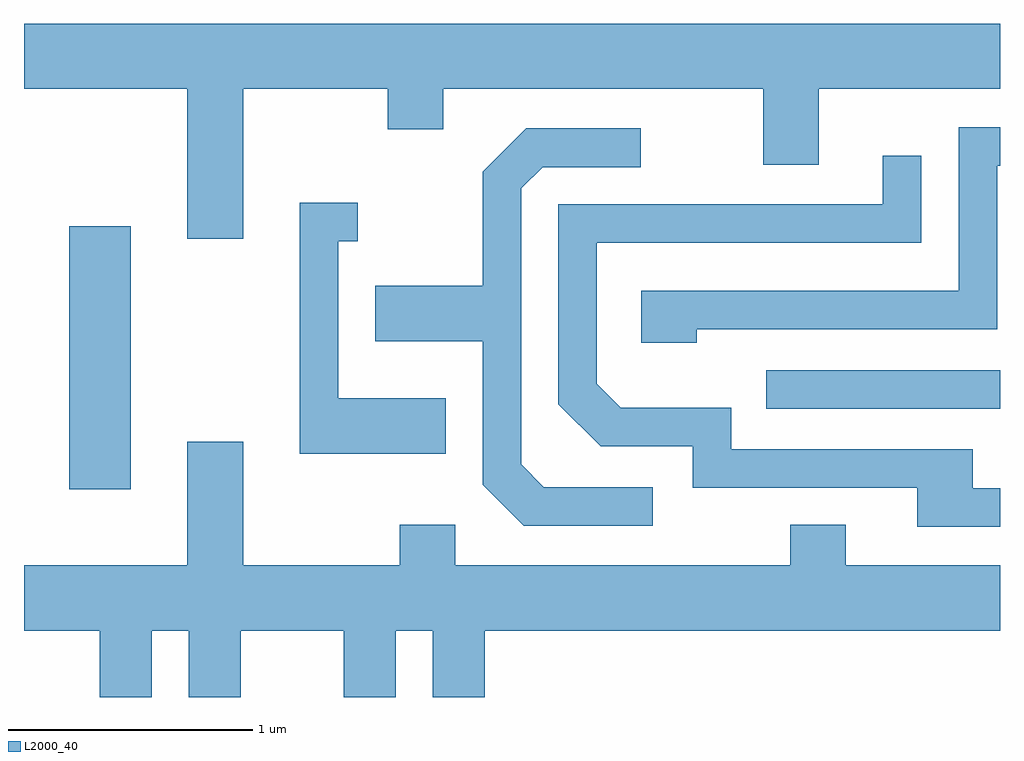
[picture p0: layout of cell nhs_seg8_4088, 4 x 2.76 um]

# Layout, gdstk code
import gdstk
lib = gdstk.Library(unit=1e-6, precision=1e-09)
def R(c, l, rs):  # rectangles x0, y0, x1, y1
    for r in rs: c.add(gdstk.rectangle(r[:2], r[2:], *l))
def P(c, l, *ps):  # polygons
    for p in ps: c.add(gdstk.Polygon(p, *l))
L2000_40 = (2000, 40)

nhs_seg8_4088 = lib.new_cell('nhs_seg8_4088')
R(nhs_seg8_4088, L2000_40, [(307.796,1859.196,308.049,1860.274), (310.653,1859.526,311.611,1859.684)])
P(nhs_seg8_4088, L2000_40, [(308.509,1860.836),(309.101,1860.836),(309.101,1860.671),(309.329,1860.671),(309.329,1860.836),(310.641,1860.836),(310.641,1860.526),(310.869,1860.526),(310.869,1860.836),(311.611,1860.836),(311.611,1861.104),(307.611,1861.104),(307.611,1860.836),(308.281,1860.836),(308.281,1860.221),(308.509,1860.221)],
  [(310.369,1859.851),(311.599,1859.851),(311.599,1860.521),(311.611,1860.521),(311.611,1860.679),(311.441,1860.679),(311.441,1860.009),(310.141,1860.009),(310.141,1859.796),(310.369,1859.796)],
  [(310.188,1859.204),(309.742,1859.204),(309.649,1859.297),(309.649,1860.429),(309.737,1860.516),(310.138,1860.516),(310.138,1860.674),(309.669,1860.674),(309.491,1860.497),(309.491,1860.029),(309.051,1860.029),(309.051,1859.801),(309.491,1859.801),(309.491,1859.214),(309.659,1859.046),(310.188,1859.046)],
  [(311.611,1859.199),(311.499,1859.199),(311.499,1859.359),(310.509,1859.359),(310.509,1859.529),(310.057,1859.529),(309.959,1859.627),(309.959,1860.206),(311.289,1860.206),(311.289,1860.563),(311.131,1860.563),(311.131,1860.364),(309.801,1860.364),(309.801,1859.544),(309.974,1859.371),(310.351,1859.371),(310.351,1859.201),(311.271,1859.201),(311.271,1859.041),(311.611,1859.041)],
  [(309.339,1859.569),(308.899,1859.569),(308.899,1860.211),(308.978,1860.211),(308.978,1860.369),(308.741,1860.369),(308.741,1859.341),(309.339,1859.341)],
  [(308.134,1858.616),(308.286,1858.616),(308.286,1858.342),(308.499,1858.342),(308.499,1858.616),(308.921,1858.616),(308.921,1858.342),(309.134,1858.342),(309.134,1858.616),(309.286,1858.616),(309.286,1858.342),(309.499,1858.342),(309.499,1858.616),(311.611,1858.616),(311.611,1858.884),(310.979,1858.884),(310.979,1859.049),(310.751,1859.049),(310.751,1858.884),(309.379,1858.884),(309.379,1859.049),(309.151,1859.049),(309.151,1858.884),(308.509,1858.884),(308.509,1859.389),(308.281,1859.389),(308.281,1858.884),(307.611,1858.884),(307.611,1858.616),(307.921,1858.616),(307.921,1858.342),(308.134,1858.342)])

lib.write_gds('nhs_seg8_4088.gds')
